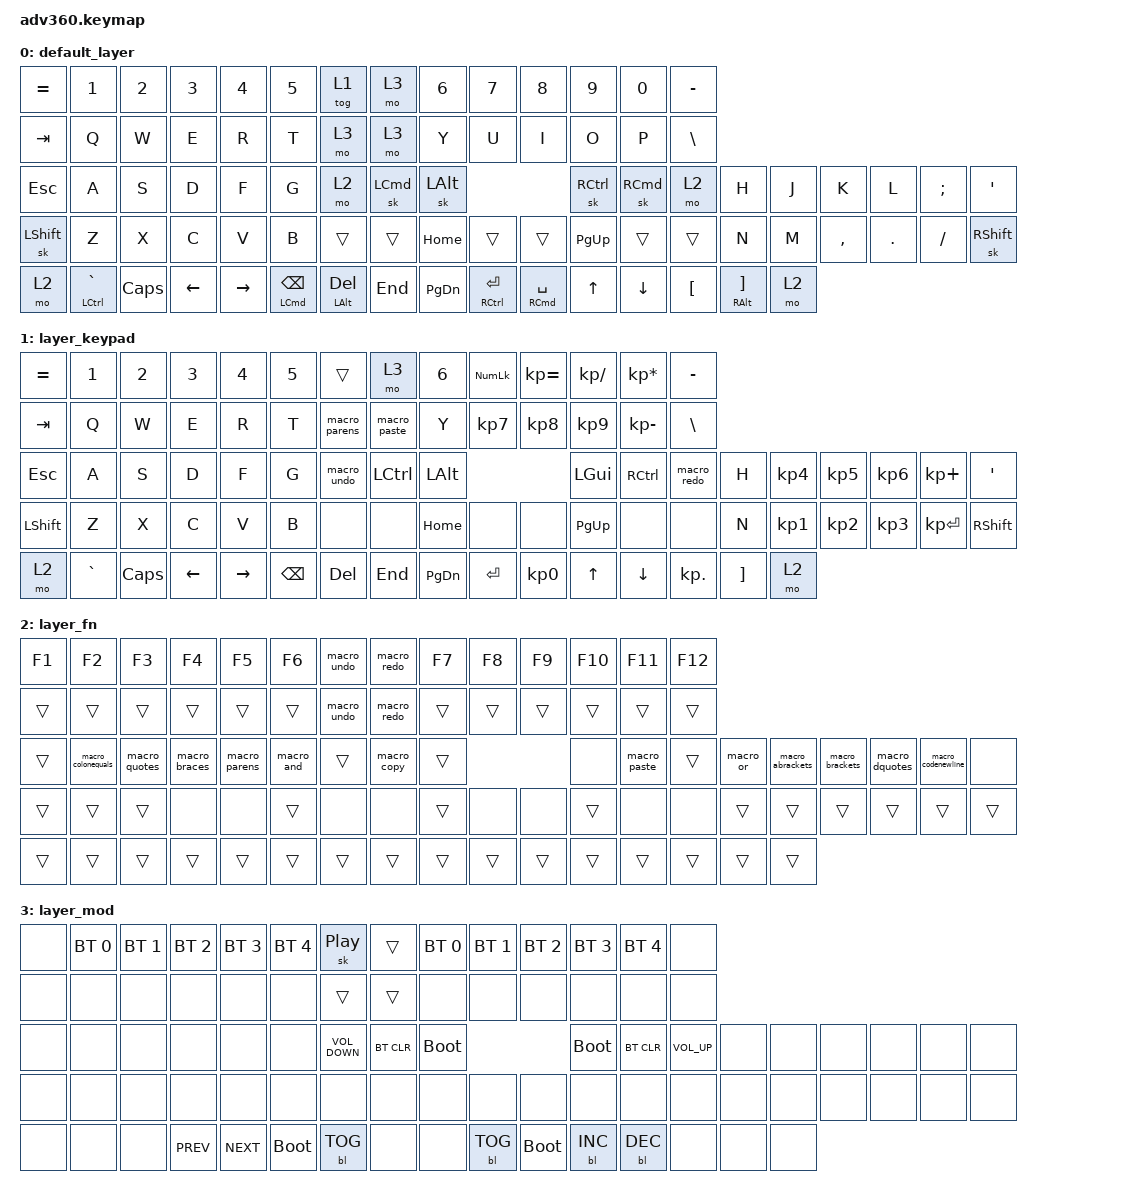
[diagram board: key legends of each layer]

/*
 * Copyright (c) 2020 The ZMK Contributors
 *
 * SPDX-License-Identifier: MIT
 */


/* THIS FILE WAS GENERATED!
 *
 * This file was generated automatically. You may or may not want to
 * edit it directly.
 */

#include <behaviors.dtsi>
#include <dt-bindings/zmk/keys.h>
#include <dt-bindings/zmk/bt.h>
#include <dt-bindings/zmk/backlight.h>

/ {
  behaviors {
    #include "macros.dtsi"

    hm: homerow_mods {
        compatible = "zmk,behavior-hold-tap";
        label = "HOMEROW_MODS";
        #binding-cells = <2>;
        tapping-term-ms = <200>;
        quick_tap_ms = <175>;
        flavor = "tap-preferred";
        bindings = <&kp>, <&kp>;
    };
  };

    keymap {
        compatible = "zmk,keymap";


        default_layer {
            bindings = <
      &kp EQUAL           &kp N1    &kp N2    &kp N3     &kp N4                 &kp N5                     &tog 1             &mo 3  &kp NUMBER_6                   &kp N7             &kp NUMBER_8             &kp N9             &kp N0         &kp MINUS
        &kp TAB            &kp Q     &kp W     &kp E      &kp R                  &kp T                      &mo 3             &mo 3         &kp Y                    &kp U                    &kp I              &kp O              &kp P          &kp BSLH
        &kp ESC            &kp A     &kp S     &kp D      &kp F                  &kp G                      &mo 2  &sk LEFT_COMMAND      &sk LALT                                                    &sk RIGHT_CONTROL  &sk RIGHT_COMMAND             &mo 2                   &kp H   &kp J      &kp K    &kp L  &kp SEMI          &kp SQT
 &sk LEFT_SHIFT            &kp Z     &kp X     &kp C      &kp V                  &kp B                     &trans            &trans      &kp HOME                   &trans                   &trans          &kp PG_UP             &trans            &trans                   &kp N   &kp M  &kp COMMA  &kp DOT  &kp FSLH  &sk RIGHT_SHIFT
          &mo 2  &mt LCTRL GRAVE  &kp CAPS  &kp LEFT  &kp RIGHT  &mt LEFT_COMMAND BSPC            &mt LALT DELETE           &kp END     &kp PG_DN  &mt RIGHT_CONTROL ENTER  &mt RIGHT_COMMAND SPACE             &kp UP           &kp DOWN  &kp LEFT_BRACKET  &mt RALT RIGHT_BRACKET   &mo 2
            >;
        };

        layer_keypad {
            bindings = <
 &kp EQUAL     &kp N1    &kp N2    &kp N3     &kp N4    &kp N5                   &trans         &mo 3     &kp N6  &kp KP_NUM  &kp KP_EQUAL  &kp KP_DIVIDE  &kp KP_MULTIPLY    &kp MINUS
   &kp TAB      &kp Q     &kp W     &kp E      &kp R     &kp T            &macro_parens  &macro_paste      &kp Y   &kp KP_N7     &kp KP_N8      &kp KP_N9     &kp KP_MINUS     &kp BSLH
   &kp ESC      &kp A     &kp S     &kp D      &kp F     &kp G              &macro_undo     &kp LCTRL   &kp LALT                                 &kp LGUI        &kp RCTRL  &macro_redo     &kp H  &kp KP_N4  &kp KP_N5  &kp KP_N6   &kp KP_PLUS    &kp SQT
 &kp LSHFT      &kp Z     &kp X     &kp C      &kp V     &kp B                    &none         &none   &kp HOME       &none         &none      &kp PG_UP            &none        &none     &kp N  &kp KP_N1  &kp KP_N2  &kp KP_N3  &kp KP_ENTER  &kp RSHFT
     &mo 2  &kp GRAVE  &kp CAPS  &kp LEFT  &kp RIGHT  &kp BSPC                  &kp DEL       &kp END  &kp PG_DN   &kp ENTER     &kp KP_N0         &kp UP         &kp DOWN   &kp KP_DOT  &kp RBKT      &mo 2
            >;
        };

        layer_fn {
            bindings = <
 &kp F1              &kp F2         &kp F3         &kp F4         &kp F5      &kp F6            &macro_undo  &macro_redo  &kp F7  &kp F8  &kp F9  &kp F10       &kp F11  &kp F12
 &trans              &trans         &trans         &trans         &trans      &trans            &macro_undo  &macro_redo  &trans  &trans  &trans   &trans        &trans   &trans
 &trans  &macro_colonequals  &macro_quotes  &macro_braces  &macro_parens  &macro_and                 &trans  &macro_copy  &trans                    &none  &macro_paste   &trans  &macro_or  &macro_abrackets  &macro_brackets  &macro_dquotes  &macro_codenewline   &none
 &trans              &trans         &trans          &none          &none      &trans                  &none        &none  &trans   &none   &none   &trans         &none    &none     &trans            &trans           &trans          &trans              &trans  &trans
 &trans              &trans         &trans         &trans         &trans      &trans                 &trans       &trans  &trans  &trans  &trans   &trans        &trans   &trans     &trans            &trans
            >;
        };

        layer_mod {
            bindings = <
  &none  &bt BT_SEL 0  &bt BT_SEL 1  &bt BT_SEL 2  &bt BT_SEL 3  &bt BT_SEL 4                     &sk C_PP      &trans  &bt BT_SEL 0  &bt BT_SEL 1  &bt BT_SEL 2  &bt BT_SEL 3  &bt BT_SEL 4            &none
  &none         &none         &none         &none         &none         &none                       &trans      &trans         &none         &none         &none         &none         &none            &none
  &none         &none         &none         &none         &none         &none            &kp C_VOLUME_DOWN  &bt BT_CLR   &bootloader                               &bootloader    &bt BT_CLR  &kp C_VOLUME_UP   &none   &none   &none   &none   &none   &none
  &none         &none         &none         &none         &none         &none                        &none       &none         &none         &none         &none         &none         &none            &none   &none   &none   &none   &none   &none   &none
  &none         &none         &none    &kp C_PREV    &kp C_NEXT   &bootloader                   &bl BL_TOG       &none         &none    &bl BL_TOG   &bootloader    &bl BL_INC    &bl BL_DEC            &none   &none   &none
            >;
        };

    };
};
